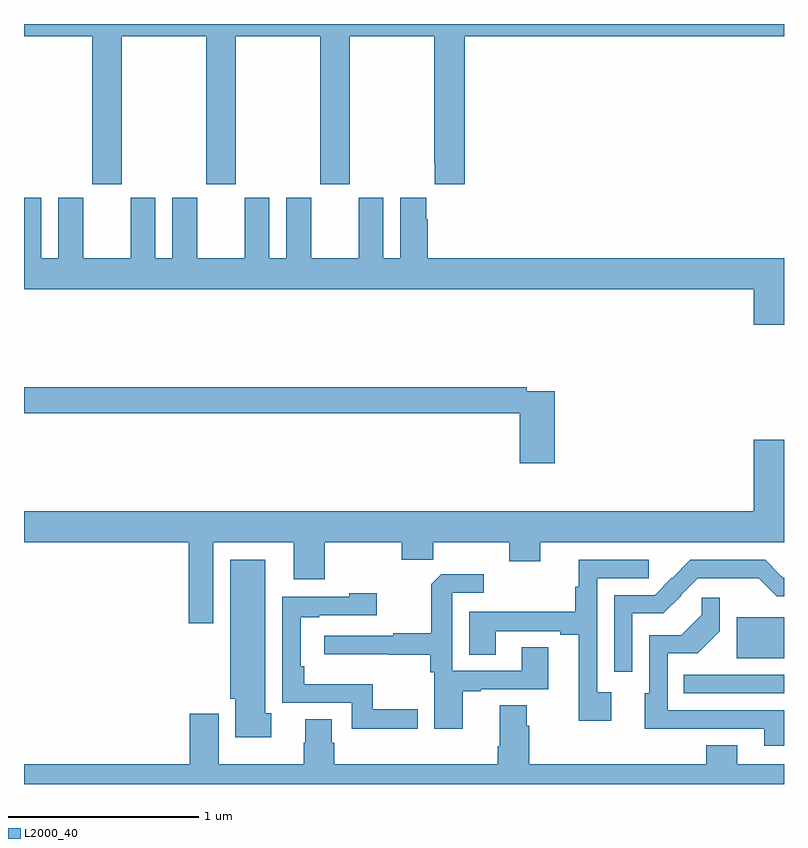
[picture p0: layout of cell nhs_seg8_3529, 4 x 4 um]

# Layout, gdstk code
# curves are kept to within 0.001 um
import gdstk
lib = gdstk.Library(unit=1e-6, precision=1e-09)
def R(c, l, rs):  # rectangles x0, y0, x1, y1
    for r in rs: c.add(gdstk.rectangle(r[:2], r[2:], *l))
def P(c, l, *ps):  # polygons
    for p in ps: c.add(gdstk.Polygon(p, *l))
L2000_40 = (2000, 40)

nhs_seg8_3529 = lib.new_cell('nhs_seg8_3529')
R(nhs_seg8_3529, L2000_40, [(332.473,1110.378,333,1110.474), (332.75,1110.563,333,1110.778)])
P(nhs_seg8_3529, L2000_40, [(329.514,1113.836),(329.959,1113.836),(329.959,1113.057),(330.114,1113.057),(330.114,1113.836),(330.559,1113.836),(330.559,1113.057),(330.714,1113.057),(330.714,1113.836),(331.159,1113.836),(331.159,1113.169),(331.163,1113.169),(331.163,1113.057),(331.319,1113.057),(331.319,1113.836),(333,1113.836),(333,1113.9),(329,1113.9),(329,1113.836),(329.359,1113.836),(329.359,1113.057),(329.514,1113.057)],
  [(333,1112.668),(331.124,1112.668),(331.124,1112.873),(331.117,1112.873),(331.117,1112.986),(330.98,1112.986),(330.98,1112.668),(330.892,1112.668),(330.892,1112.986),(330.761,1112.986),(330.761,1112.668),(330.511,1112.668),(330.511,1112.986),(330.38,1112.986),(330.38,1112.668),(330.292,1112.668),(330.292,1112.986),(330.161,1112.986),(330.161,1112.668),(329.911,1112.668),(329.911,1112.986),(329.78,1112.986),(329.78,1112.668),(329.692,1112.668),(329.692,1112.986),(329.561,1112.986),(329.561,1112.668),(329.311,1112.668),(329.311,1112.986),(329.18,1112.986),(329.18,1112.668),(329.092,1112.668),(329.092,1112.986),(329,1112.986),(329,1112.504),(332.84,1112.504),(332.84,1112.316),(333,1112.316)],
  [(331.793,1111.968),(331.646,1111.968),(331.646,1111.988),(329,1111.988),(329,1111.852),(331.61,1111.852),(331.61,1111.587),(331.793,1111.587)],
  [(329.995,1111.172),(330.419,1111.172),(330.419,1110.978),(330.583,1110.978),(330.583,1111.172),(330.989,1111.172),(330.989,1111.079),(331.153,1111.079),(331.153,1111.172),(331.553,1111.172),(331.553,1111.073),(331.717,1111.073),(331.717,1111.172),(333,1111.172),(333,1111.711),(332.84,1111.711),(332.84,1111.336),(329,1111.336),(329,1111.172),(329.867,1111.172),(329.867,1110.747),(329.995,1110.747)],
  [(330.301,1110.272),(330.271,1110.272),(330.271,1111.081),(330.086,1111.081),(330.086,1110.348),(330.113,1110.348),(330.113,1110.146),(330.301,1110.146)],
  [(332.202,1110.798),(332.365,1110.798),(332.459,1110.892),(332.457,1110.894),(332.547,1110.984),(332.867,1110.983),(332.961,1110.888),(333,1110.888),(333,1110.986),(332.996,1110.986),(332.901,1111.08),(332.507,1111.08),(332.319,1110.894),(332.106,1110.894),(332.106,1110.492),(332.202,1110.492)],
  [(332.092,1110.382),(332.016,1110.382),(332.016,1110.984),(332.289,1110.984),(332.289,1111.08),(331.919,1111.08),(331.919,1110.938),(331.9,1110.938),(331.9,1110.806),(331.343,1110.806),(331.343,1110.58),(331.483,1110.58),(331.483,1110.705),(331.823,1110.705),(331.823,1110.685),(331.919,1110.685),(331.919,1110.234),(332.092,1110.234)],
  [(331.309,1110.387),(331.405,1110.387),(331.405,1110.399),(331.759,1110.399),(331.759,1110.62),(331.619,1110.62),(331.619,1110.495),(331.254,1110.495),(331.254,1110.906),(331.42,1110.906),(331.42,1111.003),(331.195,1111.003),(331.143,1110.951),(331.143,1110.694),(330.943,1110.694),(330.943,1110.681),(330.579,1110.681),(330.579,1110.584),(330.919,1110.584),(330.919,1110.58),(331.138,1110.58),(331.138,1110.488),(331.158,1110.488),(331.158,1110.192),(331.309,1110.192)],
  [(331.072,1110.293),(330.835,1110.293),(330.835,1110.424),(330.476,1110.424),(330.476,1110.52),(330.456,1110.52),(330.456,1110.777),(330.553,1110.777),(330.553,1110.789),(330.856,1110.789),(330.856,1110.904),(330.711,1110.904),(330.711,1110.885),(330.36,1110.885),(330.36,1110.327),(330.726,1110.327),(330.726,1110.191),(331.072,1110.191)],
  [(333,1110.288),(332.388,1110.288),(332.388,1110.588),(332.545,1110.588),(332.661,1110.704),(332.661,1110.88),(332.566,1110.88),(332.566,1110.792),(332.458,1110.684),(332.292,1110.684),(332.292,1110.378),(332.267,1110.378),(332.267,1110.191),(332.897,1110.192),(332.897,1110.102),(333,1110.102)],
  [(333,1110.004),(332.755,1110.004),(332.755,1110.103),(332.591,1110.103),(332.591,1110.004),(331.658,1110.004),(331.658,1110.206),(331.645,1110.206),(331.645,1110.314),(331.505,1110.314),(331.505,1110.1),(331.493,1110.1),(331.493,1110.004),(330.632,1110.004),(330.632,1110.117),(330.619,1110.117),(330.619,1110.242),(330.479,1110.242),(330.479,1110.117),(330.472,1110.117),(330.472,1110.004),(330.025,1110.004),(330.025,1110.271),(329.873,1110.271),(329.873,1110.004),(329,1110.004),(329,1109.9),(333,1109.9)])

lib.write_gds('nhs_seg8_3529.gds')
